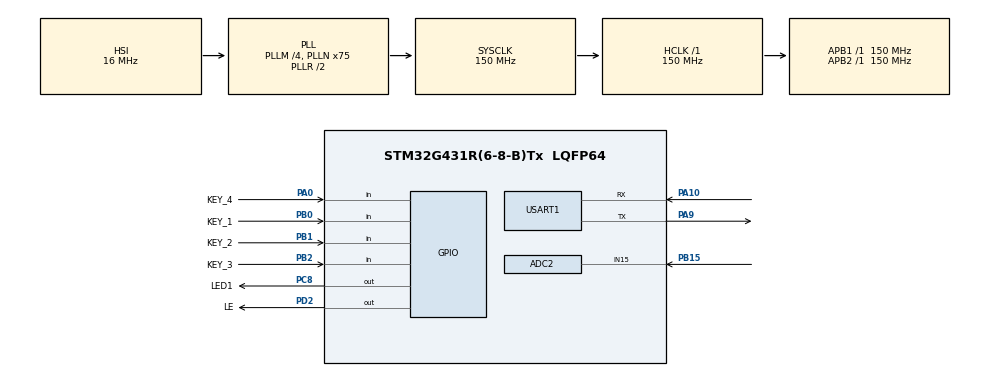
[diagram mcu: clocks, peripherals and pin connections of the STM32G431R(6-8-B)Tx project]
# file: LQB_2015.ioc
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ADC2.Channel-0\#ChannelRegularConversion=ADC_CHANNEL_15
ADC2.NbrOfConversionFlag=1
ADC2.OffsetNumber-0\#ChannelRegularConversion=ADC_OFFSET_NONE
ADC2.Rank-0\#ChannelRegularConversion=1
ADC2.SamplingTime-0\#ChannelRegularConversion=ADC_SAMPLETIME_2CYCLES_5
Dma.Request0=USART1_RX
Dma.Request1=USART1_TX
Dma.USART1_RX.0.Direction=DMA_PERIPH_TO_MEMORY
Dma.USART1_RX.0.EventEnable=DISABLE
Dma.USART1_RX.0.Instance=DMA1_Channel1
Dma.USART1_RX.0.MemDataAlignment=DMA_MDATAALIGN_BYTE
Dma.USART1_RX.0.MemInc=DMA_MINC_ENABLE
Dma.USART1_RX.0.Mode=DMA_NORMAL
Dma.USART1_RX.0.PeriphDataAlignment=DMA_PDATAALIGN_BYTE
Dma.USART1_RX.0.PeriphInc=DMA_PINC_DISABLE
Dma.USART1_RX.0.Polarity=HAL_DMAMUX_REQ_GEN_RISING
Dma.USART1_RX.0.Priority=DMA_PRIORITY_LOW
Dma.USART1_RX.0.RequestNumber=1
Dma.USART1_RX.0.SignalID=NONE
Dma.USART1_RX.0.SyncEnable=DISABLE
Dma.USART1_RX.0.SyncPolarity=HAL_DMAMUX_SYNC_NO_EVENT
Dma.USART1_RX.0.SyncRequestNumber=1
Dma.USART1_RX.0.SyncSignalID=NONE
Dma.USART1_TX.1.Direction=DMA_MEMORY_TO_PERIPH
Dma.USART1_TX.1.EventEnable=DISABLE
Dma.USART1_TX.1.Instance=DMA1_Channel2
Dma.USART1_TX.1.MemDataAlignment=DMA_MDATAALIGN_BYTE
Dma.USART1_TX.1.MemInc=DMA_MINC_ENABLE
Dma.USART1_TX.1.Mode=DMA_NORMAL
Dma.USART1_TX.1.PeriphDataAlignment=DMA_PDATAALIGN_BYTE
Dma.USART1_TX.1.PeriphInc=DMA_PINC_DISABLE
Dma.USART1_TX.1.Polarity=HAL_DMAMUX_REQ_GEN_RISING
Dma.USART1_TX.1.Priority=DMA_PRIORITY_LOW
Dma.USART1_TX.1.RequestNumber=1
Dma.USART1_TX.1.SignalID=NONE
Dma.USART1_TX.1.SyncEnable=DISABLE
Dma.USART1_TX.1.SyncPolarity=HAL_DMAMUX_SYNC_NO_EVENT
Dma.USART1_TX.1.SyncRequestNumber=1
Dma.USART1_TX.1.SyncSignalID=NONE
Mcu.Family=STM32G4
Mcu.Name=STM32G431R(6-8-B)Tx
Mcu.Package=LQFP64
NVIC.DMA1_Channel1_IRQn=true\:0\:0\:false\:false\:true\:false\:true\:true
NVIC.DMA1_Channel2_IRQn=true\:0\:0\:false\:false\:true\:false\:true\:true
NVIC.PriorityGroup=NVIC_PRIORITYGROUP_4
NVIC.USART1_IRQn=true\:0\:0\:false\:false\:true\:true\:true\:true
PA0.GPIO_Label=KEY_4
PA0.Signal=GPIO_Input
PA10.Mode=Asynchronous
PA10.Signal=USART1_RX
PA13.Mode=Serial_Wire
PA13.Signal=SYS_JTMS-SWDIO
PA14.Mode=Serial_Wire
PA14.Signal=SYS_JTCK-SWCLK
PA9.Mode=Asynchronous
PA9.Signal=USART1_TX
PB0.GPIO_Label=KEY_1
PB0.Signal=GPIO_Input
PB1.GPIO_Label=KEY_2
PB1.Signal=GPIO_Input
PB15.Mode=IN15-Single-Ended
PB15.Signal=ADC2_IN15
PB2.GPIO_Label=KEY_3
PB2.Signal=GPIO_Input
PC8.GPIO_Label=LED1
PC8.PinState=GPIO_PIN_SET
PC8.Signal=GPIO_Output
PD2.GPIO_Label=LE
PD2.PinState=GPIO_PIN_SET
PD2.Signal=GPIO_Output
PF0-OSC_IN.Mode=HSE-External-Oscillator
PF0-OSC_IN.Signal=RCC_OSC_IN
PF1-OSC_OUT.Mode=HSE-External-Oscillator
PF1-OSC_OUT.Signal=RCC_OSC_OUT
ProjectManager.HeapSize=0x200
ProjectManager.StackSize=0x400
ProjectManager.TargetToolchain=MDK-ARM V5.32
RCC.ADC12Freq_Value=150000000
RCC.AHBFreq_Value=150000000
RCC.APB1Freq_Value=150000000
RCC.APB1TimFreq_Value=150000000
RCC.APB2Freq_Value=150000000
RCC.APB2TimFreq_Value=150000000
RCC.CortexFreq_Value=150000000
RCC.EXTERNAL_CLOCK_VALUE=12288000
RCC.HCLKFreq_Value=150000000
RCC.HSE_VALUE=24000000
RCC.HSI48_VALUE=48000000
RCC.HSI_VALUE=16000000
RCC.LSE_VALUE=32768
RCC.PLLM=RCC_PLLM_DIV4
RCC.PLLN=75
RCC.SYSCLKFreq_VALUE=150000000
RCC.SYSCLKSource=RCC_SYSCLKSOURCE_PLLCLK
RCC.USBFreq_Value=150000000
RCC.VCOOutputFreq_Value=300000000
RTC.Format=RTC_FORMAT_BIN
RTC.Hours=23
RTC.Minutes=59
RTC.Seconds=59
USART1.VirtualMode-Asynchronous=VM_ASYNC
VP_RTC_VS_RTC_Activate.Mode=RTC_Enabled
VP_RTC_VS_RTC_Calendar.Mode=RTC_Calendar
VP_SYS_VS_DBSignals.Mode=DisableDeadBatterySignals
board=custom

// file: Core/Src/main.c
/* USER CODE BEGIN Header */
/**
  ******************************************************************************
  * @file           : main.c
  * @brief          : Main program body
  ******************************************************************************
  * @attention
  *
  * Copyright (c) 2023 STMicroelectronics.
  * All rights reserved.
  *
  * This software is licensed under terms that can be found in the LICENSE file
  * in the root directory of this software component.
  * If no LICENSE file comes with this software, it is provided AS-IS.
  *
  ******************************************************************************
  */
/* USER CODE END Header */
#include "main.h"
#include "adc.h"
#include "dma.h"
#include "rtc.h"
#include "usart.h"
#include "gpio.h"

/* USER CODE BEGIN Includes */
#include "lcd.h"
#include "LED.h"
#include "string.h"
#include "stdio.h"
/* USER CODE END Includes */

/* USER CODE BEGIN PD */

//rtc时钟相关定义
RTC_TimeTypeDef Time;
RTC_TimeTypeDef Setting_Time;
RTC_DateTypeDef Data;
//LCD显示相关定义
unsigned char str1[30],str2[30];
uint8_t LCD_State =0;//控制显示界面
uint8_t Setting_State = 0;//0修改秒 1修改分钟，2修改小时
//Adc相关定义
float k = 0.5;
float Value=0;
//LED闪烁状态变量
uint8_t LED_Option = 1;
uint8_t LED_State = 0; // 控制LED灯电平翻转达到闪烁
uint8_t LED_ON_State = 0; // LED状态标志位，1ON,0 OFF
//UART串口变量
uint8_t Rx_Buf[1000],Rx_Buf_Temp[1000];
uint16_t Rx_Size=1000;
unsigned char str4[30],str3[30],temp[30];
uint8_t Appear_Flag =0;//0代表上报完成，1代表上报未完成。防止上报多次
/* USER CODE END PD */

void SystemClock_Config(void);

/* USER CODE BEGIN 0 */
void Get_Time(void)
{
	HAL_RTC_GetTime(&hrtc, &Time, RTC_FORMAT_BIN);
	HAL_RTC_GetDate(&hrtc, &Data, RTC_FORMAT_BIN);
}

void Adc(void)
{
	HAL_ADC_Start(&hadc2);
	Value = (HAL_ADC_GetValue(&hadc2)*3.3)/4096;
}

void Led1_Toggle(void)
{
	if(LED_State==0)
	{
		LEDx_ON(1);
		LED_State=1;
	}
	else
	{
		LEDx_OFF(1);
		LED_State=0;
	}
}

//int fputc(int ch, FILE *f) {
//	HAL_UART_Transmit_IT(&huart1, (uint8_t *)&ch, 1);
//	return ch;
//}

void HAL_UARTEx_RxEventCallback(UART_HandleTypeDef *huart, uint16_t Size)
{
	if(huart == &huart1)
	{
		if(Size == 6)
		{
			memcpy(Rx_Buf,Rx_Buf_Temp,Size);
			if(Rx_Buf[0]=='k' && Rx_Buf[1]=='0' && Rx_Buf[2]=='.'){
				k = 1.*(Rx_Buf[3]-48)*0.1;
				sprintf(str4,"ok \r\n");
				HAL_UART_Transmit_IT(&huart1, str4, sizeof(str4));
			}
		}
		HAL_UARTEx_ReceiveToIdle_DMA(&huart1, Rx_Buf_Temp, Rx_Size);
	}
}

void LCD_Show(void)
{
	if(LCD_State == 0){ //显示界面1
		sprintf(str2,"    V1: %.2f", Value);
		LCD_DisplayStringLine(Line1, str2);
		sprintf(str2,"    K:%.1f",k);
		LCD_DisplayStringLine(Line2, str2);
		if(LED_ON_State == 1)  sprintf(str2,"    LED:ON       ");
		else                   sprintf(str2,"    LED:OFF      ");
		LCD_DisplayStringLine(Line3, str2);
		sprintf(str1,"    T:%02d-%02d-%02d",Time.Hours,Time.Minutes,Time.Seconds);
		LCD_DisplayStringLine(Line4, str1);
		sprintf(str2,"                                  ");
		LCD_DisplayStringLine(Line6, str2);
	}
	else if(LCD_State == 1)
	{
		sprintf(str2,"                         ");
		LCD_DisplayStringLine(Line1, str2);
		LCD_DisplayStringLine(Line2, str2);
		LCD_DisplayStringLine(Line4, str2);
		sprintf(str2,"       Setting           ");
		LCD_DisplayStringLine(Line3, str2);
		sprintf(str1,"    T:%02d-%02d-%02d",Setting_Time.Hours,Setting_Time.Minutes,Setting_Time.Seconds);
		LCD_DisplayStringLine(Line6, str1);
	}

}
void Key_Scan(void)
{
	if(HAL_GPIO_ReadPin(KEY_1_GPIO_Port,KEY_1_Pin) == 0)
	{
		HAL_Delay(10);
		if(HAL_GPIO_ReadPin(KEY_1_GPIO_Port,KEY_1_Pin) == 0)
		{
			if(LED_ON_State == 0) LED_ON_State = 1;
			else                  LED_ON_State = 0;
		}
	}

	if(HAL_GPIO_ReadPin(KEY_2_GPIO_Port,KEY_2_Pin) == 0)
	{
		HAL_Delay(10);
		if(HAL_GPIO_ReadPin(KEY_2_GPIO_Port,KEY_2_Pin) == 0)
		{
			if(LCD_State ==0)   LCD_State =1;
			else                LCD_State =0;
		}
	}

	if(HAL_GPIO_ReadPin(KEY_3_GPIO_Port,KEY_3_Pin) == 0)
	{
		HAL_Delay(10);
		if(HAL_GPIO_ReadPin(KEY_3_GPIO_Port,KEY_3_Pin) == 0)
		{
			if(Setting_State<3)
				Setting_State++;
			if(Setting_State == 3)
				Setting_State =0;
		}
	}

	if(HAL_GPIO_ReadPin(KEY_4_GPIO_Port,KEY_4_Pin) == 0)
	{
		HAL_Delay(10);
		if(HAL_GPIO_ReadPin(KEY_4_GPIO_Port,KEY_4_Pin) == 0)
		{
			if(Setting_State == 0)//设置秒
			{
				Setting_Time.Seconds++;
				if(Setting_Time.Seconds == 60)
					Setting_Time.Seconds = 0;
			}
			else if(Setting_State == 1)
			{
				Setting_Time.Minutes++;
				if(Setting_Time.Minutes == 60)
					Setting_Time.Minutes = 0;
			}
			else if(Setting_State == 2)
			{
				Setting_Time.Hours++;
				if(Setting_Time.Hours == 24)
					Setting_Time.Hours =0;
			}
		}
	}
}
void Reporting(void)
{
	  //定时上报  LCD_State == 0 表示返回界面1，此时代表自动更新时间，才可以进行上报。
	  if(Time.Hours == Setting_Time.Hours && Time.Minutes == Setting_Time.Minutes && Time.Seconds == Setting_Time.Seconds && LCD_State == 0 && Appear_Flag == 0)
	  {
		  sprintf(str3,"%.2f+%.1f+%02d%02d%02d\r\n",Value,k,Time.Hours,Time.Minutes,Time.Seconds);
		  HAL_UART_Transmit_IT(&huart1, str3, sizeof(str3));
		  Appear_Flag = 1;//上报结束,防止多次上报
	  }
	  if(Time.Seconds != Setting_Time.Seconds)//未达到上报时间，等待上报
		  Appear_Flag = 0;
}

//i2c相关操作
void iic_24c02_write(uint8_t *pucBuf , uint8_t ucAddr , uint8_t ucNum)//写操作
{
	//pucbuf代表存入数据的地址或者数组；ucAddr代表字节开始位置；ucNum代表存入的字节数

	I2CStart();
	I2CSendByte(0xa0);//0xa0为写操作时候的设备地址
	I2CWaitAck(); //等待通讯完成

	I2CSendByte(ucAddr);//发送要存入数据的地址如0代表第一个字节存入第0号位；1代表第1个字节存入1号位
	I2CWaitAck();//等待完成

	while(ucNum--)//相当于一个字节一个字节去存储
	{
		I2CSendByte(*pucBuf++);
		I2CWaitAck();
	}
	I2CStop();
	HAL_Delay(50);//防止在短时间内多次存入数据
}

void iic_24c02_read(uint8_t *pucBuf , uint8_t ucAddr , uint8_t ucNum)//读操作指令
{
	//ucNum为想要读取的自己数，pucbuf为读取出来的数据存入的目标数组
	I2CStart();
	I2CSendByte(0xa0);//0xa0为写操作时候的设备地址
	I2CWaitAck(); //等待通讯完成

	I2CSendByte(ucAddr);//发送要存入数据的地址如0代表第一个字节存入第0号位；1代表第1个字节存入1号位
	I2CWaitAck();//等待完成

	I2CStart();
	I2CSendByte(0xa1);//0xa1为读操作时候的设备地址
	I2CWaitAck(); //等待通讯完成

	while(ucNum--)
	{
		*pucBuf++ = I2CReceiveByte();
		if(ucNum)
			I2CSendAck();
		else
			I2CSendNotAck();
	}
	I2CStop();
}
//定义共用体进行浮点数存储
typedef union EEPROM_Float
{
	float a;
	uint8_t b[4];
}float_data;

float_data float_read;
float_data float_write;
void EEPROM_Store(void)
{
	float_write.a = k;
	iic_24c02_write(float_write.b , 0 , 4);
}

/* USER CODE END 0 */

int main(void)
{

  /* MCU Configuration--------------------------------------------------------*/

  /* Reset of all peripherals, Initializes the Flash interface and the Systick. */
  HAL_Init();

  /* Configure the system clock */
  SystemClock_Config();

  /* Initialize all configured peripherals */
  MX_GPIO_Init();
  MX_DMA_Init();
  MX_RTC_Init();
  MX_ADC2_Init();
  MX_USART1_UART_Init();
  /* USER CODE BEGIN 2 */
  //LCD初始化
  LCD_Init();
  LCD_Clear(White);
  //ADC初始化
  HAL_ADC_Init(&hadc2);
  //uwTick变量设定
  uint32_t Time_uwTick = 0;
  uint32_t LED_uwTick = 0;
  uint32_t LCD_uwTick = 0;
  uint32_t Key_uwTick = 0;
  //USART串口悬起
  HAL_UARTEx_ReceiveToIdle_DMA(&huart1, Rx_Buf_Temp, Rx_Size);
  //LED初始化
  LED_All_Close();
  //EEPROM初始化
  I2CInit();
  //读取存储的EEPROM中的数据测试
//  iic_24c02_read(float_read.b , 0 , 4);
//  k = float_read.a;
  /* USER CODE END 2 */

  /* Infinite loop */
  while (1)
  {

    /* USER CODE BEGIN 3 */
	  if(uwTick - Time_uwTick>100)
	  {
		  Time_uwTick = uwTick;
		  Get_Time();
		  Adc();
		  EEPROM_Store();
		  if(Value>3.3*k) LED_Option=1;
		  else{
			  LED_Option=0;
			  LEDx_OFF(1);
		  }
		  Reporting();
	  }
	  if(LED_Option==1 && LED_ON_State == 1)
	  {
		  if(uwTick-LED_uwTick>200)
		  {
			  LED_uwTick=uwTick;
			  Led1_Toggle();
		  }
	  }
	  if(uwTick - LCD_uwTick >100)
	  {
		  LCD_uwTick = uwTick;
		  LCD_Show();
	  }

	  if(uwTick - Key_uwTick>200)
	  {
		  Key_uwTick = uwTick;
		  Key_Scan();
	  }
  }
  /* USER CODE END 3 */
}

void SystemClock_Config(void)
{
  RCC_OscInitTypeDef RCC_OscInitStruct = {0};
  RCC_ClkInitTypeDef RCC_ClkInitStruct = {0};

  /** Configure the main internal regulator output voltage
  */
  HAL_PWREx_ControlVoltageScaling(PWR_REGULATOR_VOLTAGE_SCALE1);

  /** Initializes the RCC Oscillators according to the specified parameters
  * in the RCC_OscInitTypeDef structure.
  */
  RCC_OscInitStruct.OscillatorType = RCC_OSCILLATORTYPE_HSI|RCC_OSCILLATORTYPE_LSI;
  RCC_OscInitStruct.HSIState = RCC_HSI_ON;
  RCC_OscInitStruct.HSICalibrationValue = RCC_HSICALIBRATION_DEFAULT;
  RCC_OscInitStruct.LSIState = RCC_LSI_ON;
  RCC_OscInitStruct.PLL.PLLState = RCC_PLL_ON;
  RCC_OscInitStruct.PLL.PLLSource = RCC_PLLSOURCE_HSI;
  RCC_OscInitStruct.PLL.PLLM = RCC_PLLM_DIV4;
  RCC_OscInitStruct.PLL.PLLN = 75;
  RCC_OscInitStruct.PLL.PLLP = RCC_PLLP_DIV2;
  RCC_OscInitStruct.PLL.PLLQ = RCC_PLLQ_DIV2;
  RCC_OscInitStruct.PLL.PLLR = RCC_PLLR_DIV2;
  if (HAL_RCC_OscConfig(&RCC_OscInitStruct) != HAL_OK)
  {
    Error_Handler();
  }

  /** Initializes the CPU, AHB and APB buses clocks
  */
  RCC_ClkInitStruct.ClockType = RCC_CLOCKTYPE_HCLK|RCC_CLOCKTYPE_SYSCLK
                              |RCC_CLOCKTYPE_PCLK1|RCC_CLOCKTYPE_PCLK2;
  RCC_ClkInitStruct.SYSCLKSource = RCC_SYSCLKSOURCE_PLLCLK;
  RCC_ClkInitStruct.AHBCLKDivider = RCC_SYSCLK_DIV1;
  RCC_ClkInitStruct.APB1CLKDivider = RCC_HCLK_DIV1;
  RCC_ClkInitStruct.APB2CLKDivider = RCC_HCLK_DIV1;

  if (HAL_RCC_ClockConfig(&RCC_ClkInitStruct, FLASH_LATENCY_4) != HAL_OK)
  {
    Error_Handler();
  }
}

void Error_Handler(void)
{
  __disable_irq();
  while (1)
  {
  }
}
